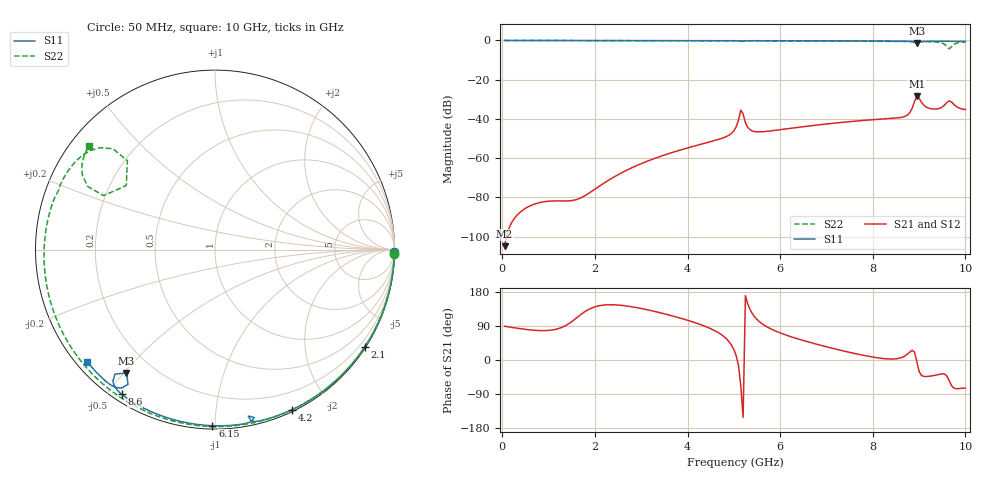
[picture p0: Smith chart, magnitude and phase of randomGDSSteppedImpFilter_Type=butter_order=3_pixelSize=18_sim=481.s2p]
! freq	dB(S11)	phase(S11)	dB(S12)	phase(S12)
!  dB(S21)	phase(S21)	dB(S22)	phase(S22)
!S-par simulation data
#  GHz  S  DB  R 50
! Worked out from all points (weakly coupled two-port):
!   200 points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, 50 MHz to 10 GHz, reference 50 ohm
!   highest |S21| = -28.44 dB at 8.95 GHz (marker M1); lowest = -104.9 dB at 50 MHz (marker M2)
!   lowest |S11| = -1.5 dB at 8.95 GHz (marker M3), VSWR 11.97, Z = 5.27 - j25.4 ohm
!   |S11| at or under -10 dB: nowhere
!   |S22| runs from -4.3 to 0.0 dB; largest |S21 - S12| = 0
!   S11 on the Smith chart (normalised r, x): 50 MHz: open; 2.1 GHz: 0.03, -3.36; 4.2 GHz: 0.02, -1.59; 6.15 GHz: 0.02, -0.99; 8.6 GHz: 0.03, -0.54; 10 GHz: 0.03, -0.38
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0.05  -0.00 -0.8  -104.87 89.0  -104.87 89.0  -0.00 -1.3
1.75  -0.04 -27.7  -79.59 124.8  -79.59 124.8  -0.05 -42.7
2.1  -0.04 -33.1  -74.21 143.4  -74.21 143.4  -0.07 -50.9
3.4  -0.07 -52.7  -59.21 125.0  -59.21 125.0  -0.11 -80.4
4.2  -0.09 -64.4  -53.51 96.9  -53.51 96.9  -0.14 -97.7
4.85  -0.11 -73.7  -48.86 54.7  -48.86 54.7  -0.17 -111.4
5.05  -0.15 -77.0  -44.06 11.6  -44.06 11.6  -0.18 -115.7
5.15  -0.48 -78.7  -35.49 -68.3  -35.49 -68.3  -0.26 -117.8
5.3  -0.16 -78.9  -44.30 148.0  -44.30 148.0  -0.20 -120.5
5.4  -0.14 -80.5  -46.16 122.2  -46.16 122.2  -0.20 -122.6
6.15  -0.16 -90.9  -45.03 64.9  -45.03 64.9  -0.25 -138.1
6.7  -0.19 -98.1  -43.39 44.5  -43.39 44.5  -0.29 -149.5
8.35  -0.32 -119.3  -39.81 2.7  -39.81 2.7  -0.46 174.3
8.6  -0.36 -122.9  -39.28 5.6  -39.28 5.6  -0.49 168.2
8.8  -0.51 -126.6  -36.77 21.3  -36.77 21.3  -0.54 163.1
8.95  -1.46 -125.7  -28.44 -3.1  -28.44 -3.1  -0.61 159.3
9.25  -0.42 -128.3  -34.80 -42.4  -34.80 -42.4  -0.68 150.1
9.5  -0.43 -132.0  -33.93 -36.5  -33.93 -36.5  -1.35 138.4
9.6  -0.43 -133.3  -31.59 -42.3  -31.59 -42.3  -3.16 134.6
9.7  -0.44 -134.7  -31.36 -67.5  -31.36 -67.5  -3.23 154.1
9.8  -0.45 -136.0  -33.62 -75.7  -33.62 -75.7  -1.41 150.5
10  -0.49 -138.7  -35.23 -73.9  -35.23 -73.9  -0.82 140.4
